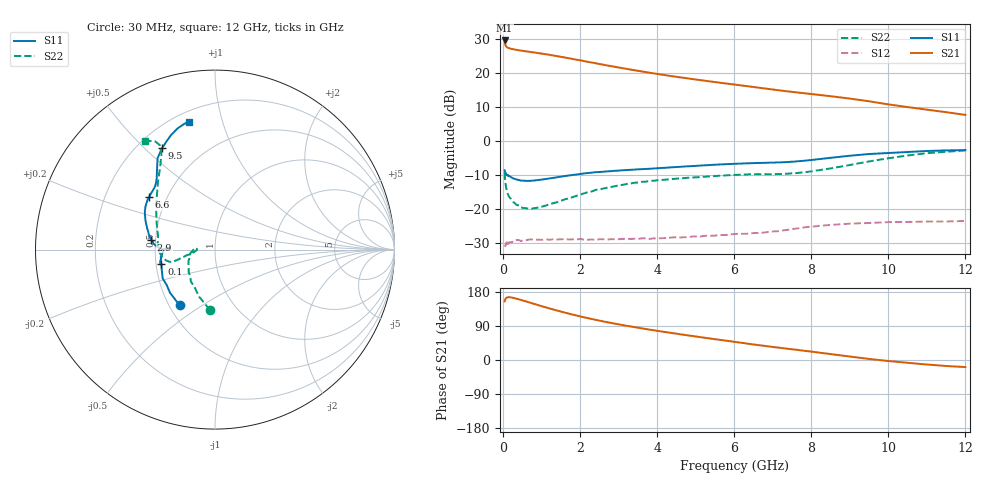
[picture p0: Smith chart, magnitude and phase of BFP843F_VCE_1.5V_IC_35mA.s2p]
! Infineon Technologies  Discrete & RF Semiconductors
! BFP843F
! VCE =  1.5 V,  IC =  35 mA
! Common Emitter S-Parameters:  Aug 2013
# GHz  S  MA  R  50
!  f  S11  S21  S12  S22
! GHz  MAG  ANG  MAG  ANG  MAG  ANG  MAG  ANG
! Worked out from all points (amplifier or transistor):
!   103 points, 30 MHz to 12 GHz, reference 50 ohm
!   highest |S21| = 29.5 dB at 30 MHz (marker M1)
!   |S21| within 3 dB of that: start of sweep to 460.9 MHz
!   unconditionally stable (mu >= 1): 97.24 MHz to end of sweep
!   at 400 MHz: K = 1.02, MAG = 27.1 dB, |S12| = -29.2 dB
!   at 3.7 GHz: K = 1.26, MAG = 21.4 dB, |S12| = -28.7 dB
!   at 12 GHz: K = 1.17, MAG = 13.1 dB, |S12| = -23.6 dB
!   S11 on the Smith chart (normalised r, x): 30 MHz: 0.57, -0.41; 100 MHz: 0.53, -0.09; 2.9 GHz: 0.47, +0.06; 6.6 GHz: 0.40, +0.30; 9.5 GHz: 0.30, +0.57; 12 GHz: 0.26, +0.79
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0.03  0.3676 -122.4  29.89 154.8  0.0284 25.9  0.3384 -94.7
0.04  0.3474 -136.3  27.27 157.2  0.0281 19.7  0.2762 -108.8
0.05  0.3337 -143.6  25.75 160.7  0.0288 16.1  0.2404 -117.8
0.07  0.3219 -156.3  24.41 163.5  0.0297 15.2  0.204 -132.1
0.1  0.3087 -165.3  23.57 165.3  0.0302 14.8  0.1745 -149.1
0.13  0.3039 -170.2  23.17 165.9  0.0308 11.9  0.1571 -158.4
0.2  0.2909 -177.8  22.5 165.1  0.0321 7.4  0.1376 -172.1
0.9  0.2642 179.8  19.5 144.8  0.035 6.3  0.104 -178.5
1.2  0.2793 -179.7  18.36 136.0  0.0348 6.0  0.1165 -173.5
1.6  0.3027 179.0  16.76 124.9  0.0357 6.6  0.1376 -169.5
2.1  0.3303 176.1  14.84 112.5  0.0349 7.1  0.1684 -167.7
2.5  0.3468 173.4  13.44 103.7  0.0356 8.7  0.192 -166.1
2.9  0.3613 171.1  12.23 95.8  0.0355 11.4  0.2147 -165.0
3.5  0.3798 166.8  10.68 85.1  0.0359 12.5  0.2432 -164.1
4.1  0.3979 162.3  9.417 75.4  0.0368 16.2  0.2642 -165.4
5.1  0.4307 154.7  7.811 60.5  0.0388 20.1  0.2917 -171.4
6.1  0.4602 146.5  6.605 46.5  0.0428 23.7  0.3157 179.9
6.6  0.47 141.3  6.067 39.6  0.0439 25.4  0.3223 174.8
8.5  0.5606 125.1  4.52 15.6  0.0578 25.0  0.3918 146.7
9.5  0.6378 117.5  3.803 2.8  0.0617 21.2  0.4959 129.8
10.5  0.6829 111.1  3.126 -7.4  0.0638 18.2  0.6066 119.5
12  0.7275 101.4  2.401 -18.7  0.066 18.2  0.7204 122.6
